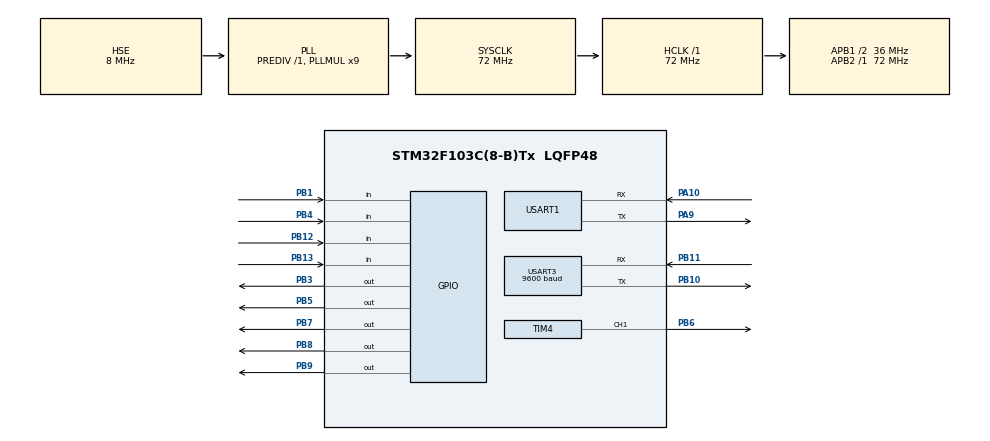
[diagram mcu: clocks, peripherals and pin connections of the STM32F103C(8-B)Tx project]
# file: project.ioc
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Mcu.Family=STM32F1
Mcu.Name=STM32F103C(8-B)Tx
Mcu.Package=LQFP48
NVIC.PriorityGroup=NVIC_PRIORITYGROUP_4
NVIC.TIM1_UP_IRQn=true\:0\:0\:false\:false\:true\:true\:true\:true
NVIC.TIM2_IRQn=true\:0\:0\:false\:false\:true\:true\:true\:true
NVIC.USART1_IRQn=true\:0\:0\:false\:false\:true\:true\:true\:true
NVIC.USART3_IRQn=true\:0\:0\:false\:false\:true\:true\:true\:true
PA10.Mode=Asynchronous
PA10.Signal=USART1_RX
PA13.Mode=Serial_Wire
PA13.Signal=SYS_JTMS-SWDIO
PA14.Mode=Serial_Wire
PA14.Signal=SYS_JTCK-SWCLK
PA9.Mode=Asynchronous
PA9.Signal=USART1_TX
PB1.Signal=GPIO_Input
PB10.Mode=Asynchronous
PB10.Signal=USART3_TX
PB11.Mode=Asynchronous
PB11.Signal=USART3_RX
PB12.GPIO_PuPd=GPIO_PULLUP
PB12.Signal=GPIO_Input
PB13.GPIO_PuPd=GPIO_PULLUP
PB13.Signal=GPIO_Input
PB3.GPIO_PuPd=GPIO_PULLDOWN
PB3.Signal=GPIO_Output
PB4.GPIO_PuPd=GPIO_PULLUP
PB4.Signal=GPIO_Input
PB5.Signal=GPIO_Output
PB6.Signal=S_TIM4_CH1
PB7.GPIO_ModeDefaultOutputPP=GPIO_MODE_OUTPUT_OD
PB7.Signal=GPIO_Output
PB8.GPIO_ModeDefaultOutputPP=GPIO_MODE_OUTPUT_OD
PB8.Signal=GPIO_Output
PB9.GPIO_ModeDefaultOutputPP=GPIO_MODE_OUTPUT_OD
PB9.Signal=GPIO_Output
PD0-OSC_IN.Mode=HSE-External-Oscillator
PD0-OSC_IN.Signal=RCC_OSC_IN
PD1-OSC_OUT.Mode=HSE-External-Oscillator
PD1-OSC_OUT.Signal=RCC_OSC_OUT
ProjectManager.HeapSize=0x200
ProjectManager.StackSize=0x400
ProjectManager.TargetToolchain=MDK-ARM V5.32
RCC.AHBFreq_Value=72000000
RCC.APB1CLKDivider=RCC_HCLK_DIV2
RCC.APB1Freq_Value=36000000
RCC.APB1TimFreq_Value=72000000
RCC.APB2Freq_Value=72000000
RCC.APB2TimFreq_Value=72000000
RCC.HCLKFreq_Value=72000000
RCC.PLLMUL=RCC_PLL_MUL9
RCC.PLLSourceVirtual=RCC_PLLSOURCE_HSE
RCC.SYSCLKFreq_VALUE=72000000
RCC.SYSCLKSource=RCC_SYSCLKSOURCE_PLLCLK
RCC.USBFreq_Value=72000000
SH.S_TIM4_CH1.0=TIM4_CH1,PWM Generation1 CH1
TIM1.Period=1000-1
TIM1.Prescaler=720-1
TIM2.Period=10000-1
TIM2.Prescaler=7200-1
TIM4.Channel-PWM\ Generation1\ CH1=TIM_CHANNEL_1
TIM4.Period=2000-1
TIM4.Prescaler=72-1
USART1.VirtualMode=VM_ASYNC
USART3.BaudRate=9600
USART3.VirtualMode=VM_ASYNC
VP_TIM1_VS_ClockSourceINT.Mode=Internal
VP_TIM2_VS_ClockSourceINT.Mode=Internal
board=custom

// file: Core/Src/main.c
/* USER CODE BEGIN Header */
/**
  ******************************************************************************
  * @file           : main.c
  * @brief          : Main program body
  ******************************************************************************
  * @attention
  *
  * <h2><center>&copy; Copyright (c) 2024 STMicroelectronics.
  * All rights reserved.</center></h2>
  *
  * This software component is licensed by ST under BSD 3-Clause license,
  * the "License"; You may not use this file except in compliance with the
  * License. You may obtain a copy of the License at:
  *                        opensource.org/licenses/BSD-3-Clause
  *
  ******************************************************************************
  */
/* USER CODE END Header */
#include "main.h"
#include "tim.h"
#include "usart.h"
#include "gpio.h"

/* USER CODE BEGIN Includes */
#include "ESP8266.h"
#include "delay.h"
#include "OLED.h"
#include "stdio.h"
#include "stdlib.h"
#include "string.h"
#include "JQ8900.h"
#include "KEY.h"
#include "DS18B20.h"
#include "HX711.h"
#include "servo.h"
/* USER CODE END Includes */

/* USER CODE BEGIN PTD */
extern uint8_t switch_flag;
struct timer set_time;
uint8_t time_count;
struct timer residue_time = {0, 0, 0};
uint8_t temp_max = 30;
extern uint32_t weight;
uint32_t weight_min = 200;
uint32_t init_weight;
float temp_value;
char s[100];
uint8_t time_flag;

/* USER CODE END PTD */

void SystemClock_Config(void);

/* USER CODE BEGIN 0 */
void Buzzer_Set(uint8_t x)
{
  HAL_GPIO_WritePin(GPIOB, GPIO_PIN_3, (GPIO_PinState)x);
}
void Page(void)
{
  OLED_ShowChinese(1, 1, "��ǰ������");
  memset(s, 0, sizeof(s));
  sprintf(s, "%d g        ", weight);
  OLED_ShowString(80, 1, s, 8);
  memset(s, 0, sizeof(s));
  sprintf(s, "%02d:%02d:%02d", residue_time.hour, residue_time.minute, residue_time.sec);
  OLED_ShowString(1, 16, s, 8);
  OLED_ShowChinese(1, 32, "�¶ȣ�");
  OLED_ShowFloatNum(40, 32, temp_value, 2, 1, 8);
  OLED_ShowChinese(1, 48, "������С��");
  OLED_ShowNum(80, 48, weight_min, 4, 8);
  OLED_ShowNum(80, 16, temp_max, 2, 8);
}

extern struct Record_Info rec;
void Ctrl(void)
{
  if (switch_flag == 0)
  {
    if ((weight < weight_min) || (temp_value > temp_max))
    {
      Buzzer_Set(1);
	  if((weight<weight_min)&& (HAL_GPIO_ReadPin(GPIOB, GPIO_PIN_1) != 1))
	  {
				rec.index = 1;
				strcpy(rec.path, "\"00001\"");
				rec.volume = 20;
				JQ8900_Play_Recording(&rec);
		  Servo_Start(90);
	  }
	  if((temp_value>temp_max)&& (HAL_GPIO_ReadPin(GPIOB, GPIO_PIN_1) != 1))
	  {
				rec.index = 2;
				strcpy(rec.path, "\"00002\"");
				rec.volume = 20;
		  JQ8900_Play_Recording(&rec);
	  }
    }
    else
    {
      Buzzer_Set(0);
      if (weight >= weight_min)
        Servo_Start(0);
    }
  }
}
uint8_t send_time;
void Data_Send(void)
{
  if (send_time < 10)
  {
    send_time++;
    return ;
  }
  send_time = 0;
  memset(s, 0, sizeof(s));
  sprintf(s, "weight:%d,temp:%.1f,\r\n", weight, temp_value);
  ESP8266_SendData(s, strlen(s));
}
/* USER CODE END 0 */

int main(void)
{

  /* MCU Configuration--------------------------------------------------------*/

  /* Reset of all peripherals, Initializes the Flash interface and the Systick. */
  HAL_Init();

  /* Configure the system clock */
  SystemClock_Config();

  /* Initialize all configured peripherals */
  MX_GPIO_Init();
  MX_USART1_UART_Init();
  MX_TIM4_Init();
  MX_TIM2_Init();
  MX_TIM1_Init();
  MX_USART3_UART_Init();
  /* USER CODE BEGIN 2 */
  OLED_Init();
  ESP8266_Init();
  HX711_Init_Weight();
  Servo_Start(0);
  Delay_ms(1000);
  HAL_TIM_Base_Start_IT(&htim1);
  Buzzer_Set(0);

  /* USER CODE END 2 */

  /* Infinite loop */
  while (1)
  {

    /* USER CODE BEGIN 3 */
    ESP8266_GetIPD();
   if ((time_flag == 0 ) && (time_count > 0))
    {
      residue_time.hour = set_time.hour;
      residue_time.minute = set_time.minute ;
      residue_time.sec = set_time.sec;
      time_flag = 1;
      time_count--;
      HAL_TIM_Base_Start_IT(&htim2);
    }
    Key_Scan();
    HX711_GetWeight();
    temp_value = DS18B20_GetTemp();
    Servo_Switch();
    Ctrl();
    Page();
    OLED_Update();
    Data_Send();
  }
  /* USER CODE END 3 */
}

void SystemClock_Config(void)
{
  RCC_OscInitTypeDef RCC_OscInitStruct = {0};
  RCC_ClkInitTypeDef RCC_ClkInitStruct = {0};

  /** Initializes the RCC Oscillators according to the specified parameters
  * in the RCC_OscInitTypeDef structure.
  */
  RCC_OscInitStruct.OscillatorType = RCC_OSCILLATORTYPE_HSE;
  RCC_OscInitStruct.HSEState = RCC_HSE_ON;
  RCC_OscInitStruct.HSEPredivValue = RCC_HSE_PREDIV_DIV1;
  RCC_OscInitStruct.HSIState = RCC_HSI_ON;
  RCC_OscInitStruct.PLL.PLLState = RCC_PLL_ON;
  RCC_OscInitStruct.PLL.PLLSource = RCC_PLLSOURCE_HSE;
  RCC_OscInitStruct.PLL.PLLMUL = RCC_PLL_MUL9;
  if (HAL_RCC_OscConfig(&RCC_OscInitStruct) != HAL_OK)
  {
    Error_Handler();
  }
  /** Initializes the CPU, AHB and APB buses clocks
  */
  RCC_ClkInitStruct.ClockType = RCC_CLOCKTYPE_HCLK|RCC_CLOCKTYPE_SYSCLK
                              |RCC_CLOCKTYPE_PCLK1|RCC_CLOCKTYPE_PCLK2;
  RCC_ClkInitStruct.SYSCLKSource = RCC_SYSCLKSOURCE_PLLCLK;
  RCC_ClkInitStruct.AHBCLKDivider = RCC_SYSCLK_DIV1;
  RCC_ClkInitStruct.APB1CLKDivider = RCC_HCLK_DIV2;
  RCC_ClkInitStruct.APB2CLKDivider = RCC_HCLK_DIV1;

  if (HAL_RCC_ClockConfig(&RCC_ClkInitStruct, FLASH_LATENCY_2) != HAL_OK)
  {
    Error_Handler();
  }
}

void Error_Handler(void)
{
  __disable_irq();
  while (1)
  {
  }
}

/************************ (C) COPYRIGHT STMicroelectronics *****END OF FILE****/
